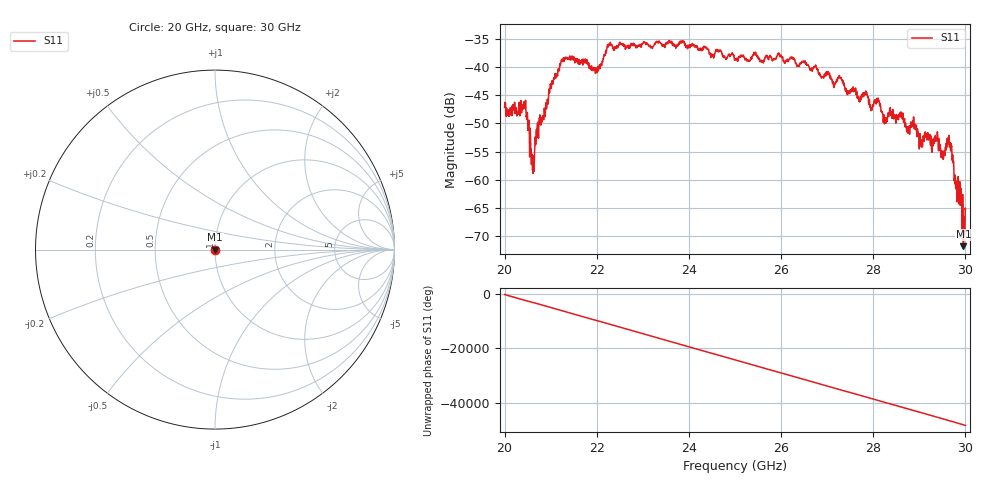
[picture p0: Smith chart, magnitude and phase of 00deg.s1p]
#  HZ  S  RI  R  50.00
! Rohde & Schwarz ZVA40 4Ports - Version 3.90 - 1145.1110k42 SN: 100403
! Date: 2023-10-03 12:37:28
! Measurement: S12
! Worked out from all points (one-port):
!   5001 points, 20 GHz to 30 GHz, reference 50 ohm
!   lowest |S11| = -71.8 dB at 29.96 GHz (marker M1), VSWR 1.00, Z = 50 - j0.0103 ohm
!   |S11| at or under -10 dB: start of sweep to end of sweep
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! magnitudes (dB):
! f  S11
! 20 GHz  -47.2
! 20.42 GHz  -46.4
! 20.49 GHz  -48.5
! 20.61 GHz  -57.6
! 20.74 GHz  -52.6
! 21.25 GHz  -39.0
! 22 GHz  -40.3
! 22.26 GHz  -35.9
! 22.5 GHz  -35.8
! 23.75 GHz  -36.2
! 25 GHz  -38.6
! 26.25 GHz  -38.4
! 27.15 GHz  -43.6
! 27.28 GHz  -41.9
! 27.5 GHz  -44.4
! 27.84 GHz  -44.7
! 27.95 GHz  -47.4
! 28.1 GHz  -45.6
! 28.26 GHz  -49.1
! 28.6 GHz  -48.0
! 28.75 GHz  -51.6
! 28.89 GHz  -51.0
! 29.04 GHz  -53.8
! 29.38 GHz  -52.5
! 29.51 GHz  -55.6
! 29.65 GHz  -54.1
! 29.96 GHz  -71.8
! 30 GHz  -65.4
